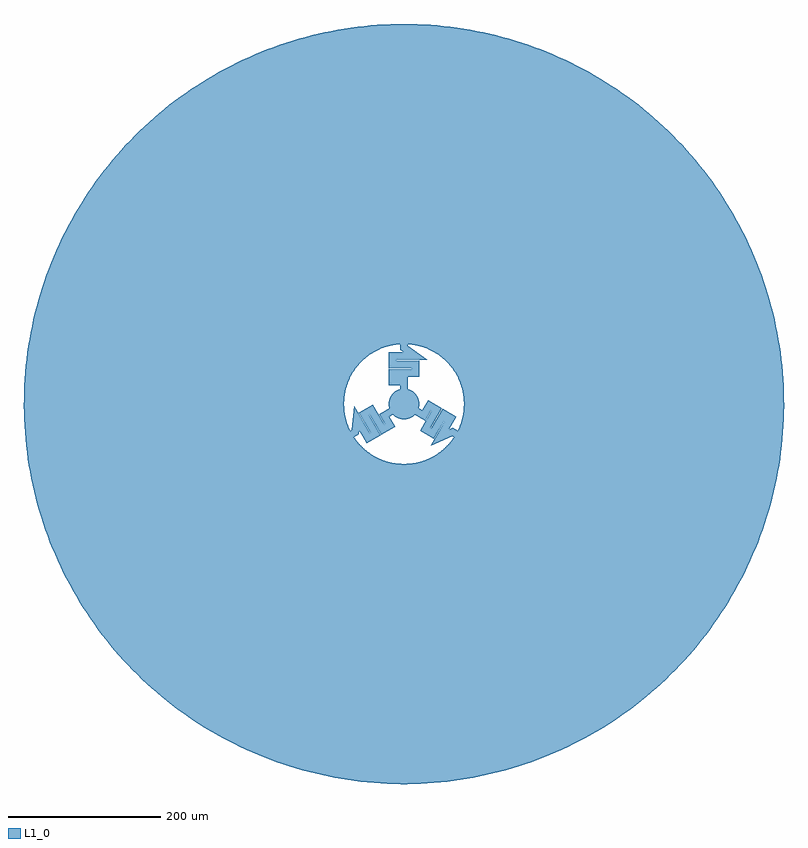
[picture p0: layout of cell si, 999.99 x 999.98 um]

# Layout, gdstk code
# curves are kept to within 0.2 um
import gdstk
lib = gdstk.Library(unit=1e-6, precision=1e-09)
def P(c, l, *ps):  # polygons
    for p in ps: c.add(gdstk.Polygon(p, *l))
L1_0 = (1, 0)

c_si = lib.new_cell('si')
P(c_si, L1_0, [(-0.175,-19.999),(-4.341,-19.523),(-7.996,-18.332),(-11.356,-16.464),(-14.296,-13.987),(-16.708,-10.993),(-18.503,-7.593),(-19.614,-3.913),(-19.998,0.263),(-19.579,4.084),(-18.297,8.076),(-16.414,11.428),(-13.924,14.357),(-10.92,16.756),(-7.512,18.536),(-3.827,19.631),(0.35,19.997),(4.17,19.561),(8.156,18.261),(11.499,16.363),(14.418,13.861),(16.804,10.846),(18.568,7.431),(19.647,3.741),(20,-0.088),(19.614,-3.913),(18.503,-7.593),(16.513,-11.284),(14.049,-14.235),(10.773,-16.851),(7.349,-18.601),(3.655,-19.663)],
  [(-4.375,-499.981),(-30.609,-499.062),(-56.759,-496.768),(-82.752,-493.105),(-99.958,-489.907),(-125.531,-483.985),(-150.759,-476.73),(-175.57,-468.161),(-199.898,-458.302),(-215.815,-451.025),(-239.188,-439.078),(-261.902,-425.92),(-283.894,-411.588),(-305.103,-396.121),(-325.472,-379.563),(-344.944,-361.959),(-357.4,-349.665),(-375.258,-330.426),(-392.082,-310.277),(-407.826,-289.272),(-417.699,-274.822),(-431.547,-252.522),(-440.12,-237.265),(-451.965,-213.839),(-462.565,-189.825),(-471.89,-165.287),(-479.914,-140.294),(-486.616,-114.914),(-491.976,-89.217),(-494.797,-71.945),(-497.891,-45.878),(-499.612,-19.685),(-499.957,6.563),(-499.421,24.056),(-498.273,41.519),(-496.515,58.932),(-493.703,79),(0,79),(-9.654,78.408),(-19.164,76.64),(-28.386,73.724),(-37.183,69.702),(-45.423,64.636),(-52.981,58.6),(-59.745,51.686),(-65.614,43.998),(-70.499,35.649),(-74.327,26.767),(-77.041,17.483),(-78.6,7.937),(-78.981,-1.728),(-78.178,-11.367),(-76.203,-20.836),(-73.085,-29.992),(-68.872,-38.699),(-63.627,-46.826),(-57.427,-54.25),(-50.367,-60.862),(-42.552,-66.561),(-34.099,-71.262),(-25.134,-74.895),(-15.793,-77.405),(-6.215,-78.755),(3.456,-78.924),(13.075,-77.911),(22.498,-75.729),(31.584,-72.412),(40.196,-68.009),(48.206,-62.587),(55.494,-56.227),(61.949,-49.024),(68.184,-39.898),(72.549,-31.267),(76.203,-20.836),(78.365,-9.997),(78.993,1.037),(78.274,10.683),(76.018,21.502),(72.82,30.631),(67.833,40.494),(62.376,48.48),(54.999,56.71),(47.657,63.007),(38.397,69.041),(29.672,73.216),(19.164,76.64),(9.654,78.408),(0,79),(-493.703,79),(-489.464,102.1),(-483.432,127.648),(-476.066,152.843),(-470.426,169.41),(-464.209,185.77),(-453.819,209.876),(-446.196,225.63),(-433.74,248.736),(-424.769,263.763),(-410.341,285.692),(-400.092,299.878),(-383.802,320.462),(-366.455,340.163),(-354.326,352.779),(-341.763,364.963),(-322.138,382.396),(-308.558,393.436),(-287.485,409.087),(-272.992,418.898),(-250.631,432.648),(-235.337,441.154),(-211.86,452.897),(-195.88,460.034),(-171.467,469.68),(-154.925,475.393),(-129.762,482.868),(-112.783,487.114),(-87.063,492.362),(-69.779,495.107),(-43.699,498.087),(-17.498,499.694),(0,500),(17.498,499.694),(43.699,498.087),(69.779,495.107),(95.667,490.763),(121.291,485.065),(146.581,478.031),(171.467,469.68),(195.88,460.034),(211.86,452.897),(235.337,441.154),(258.165,428.195),(280.281,414.056),(294.6,403.994),(315.396,387.976),(335.323,370.888),(354.326,352.779),(372.352,333.697),(389.352,313.696),(405.279,292.83),(415.278,278.467),(429.321,256.289),(442.179,233.404),(453.819,209.876),(464.209,185.77),(473.318,161.151),(481.124,136.089),(487.603,110.651),(491.176,93.519),(495.408,67.612),(498.273,41.519),(499.421,24.056),(499.995,-2.188),(499.191,-28.425),(497.012,-54.584),(494.797,-71.945),(490.339,-97.813),(486.616,-114.914),(479.914,-140.294),(471.89,-165.287),(462.565,-189.825),(451.965,-213.839),(440.12,-237.265),(427.061,-260.036),(412.826,-282.09),(402.701,-296.365),(386.592,-317.091),(369.418,-336.943),(351.225,-355.866),(332.065,-373.809),(311.989,-390.721),(291.054,-406.556),(269.316,-421.271),(254.408,-430.438),(231.467,-443.196),(207.888,-454.733),(183.737,-465.017),(159.079,-474.019),(142.392,-479.296),(117.042,-486.108),(91.369,-491.581),(65.444,-495.699),(39.339,-498.45),(13.125,-499.828)])
c_si.add(gdstk.FlexPath([(0,0),(0,30),(-15,30),(-15,41),(15,41),(15,52),(-15,52),(-15,63),(15,63),(15,63),(0,74),(0,79)], 10, ends="flush", simple_path=True, layer=1, datatype=0))  # L1_0
c_si.add(gdstk.FlexPath([(0,0),(-25.981,-15),(-18.481,-27.99),(-28.007,-33.49),(-43.007,-7.51),(-52.533,-13.01),(-37.533,-38.99),(-47.06,-44.49),(-62.06,-18.51),(-62.06,-18.51),(-64.086,-37),(-68.416,-39.5)], 10, ends="flush", simple_path=True, layer=1, datatype=0))  # L1_0
c_si.add(gdstk.FlexPath([(0,0),(25.981,-15),(33.481,-2.01),(43.007,-7.51),(28.007,-33.49),(37.533,-38.99),(52.533,-13.01),(62.06,-18.51),(47.06,-44.49),(47.06,-44.49),(64.086,-37),(68.416,-39.5)], 10, ends="flush", simple_path=True, layer=1, datatype=0))  # L1_0

lib.write_gds('si.gds')
